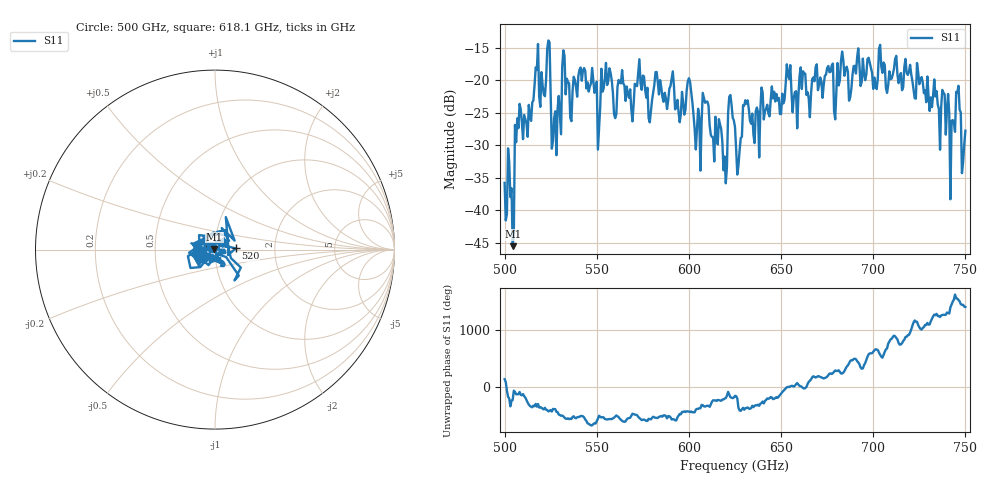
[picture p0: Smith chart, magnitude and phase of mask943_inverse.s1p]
!Created with skrf (http://scikit-rf.org).
# GHz S MA R 50.0
!freq magS11 angS11
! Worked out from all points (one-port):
!   401 points, 500 GHz to 750 GHz, reference 50 ohm
!   lowest |S11| = -45.6 dB at 504.4 GHz (marker M1), VSWR 1.01, Z = 49.6 + j0.333 ohm
!   |S11| at or under -10 dB: start of sweep to end of sweep
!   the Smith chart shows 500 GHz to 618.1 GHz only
!   S11 on the Smith chart (normalised r, x): 500 GHz: 0.97, +0.02; 520 GHz: 1.26, +0.02; 618.1 GHz: 0.94, +0.03
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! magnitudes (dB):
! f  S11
! 500 GHz  -35.8
! 504.4 GHz  -45.6
! 506.9 GHz  -25.9
! 516.9 GHz  -18.0
! 520 GHz  -18.7
! 523.8 GHz  -13.8
! 526.9 GHz  -25.8
! 531.2 GHz  -17.9
! 542.5 GHz  -18.5
! 550.6 GHz  -30.7
! 562.5 GHz  -20.4
! 593.8 GHz  -23.0
! 600 GHz  -19.7
! 605 GHz  -24.4
! 608.8 GHz  -23.4
! 618.1 GHz  -29.4
! 619.4 GHz  -31.7
! 622.5 GHz  -22.2
! 625 GHz  -27.2
! 627.5 GHz  -30.8
! 630.6 GHz  -23.0
! 636.9 GHz  -24.2
! 656.2 GHz  -24.9
! 687.5 GHz  -22.6
! 718.8 GHz  -19.2
! 743.1 GHz  -26.1
! 746.2 GHz  -20.8
! 750 GHz  -27.7
